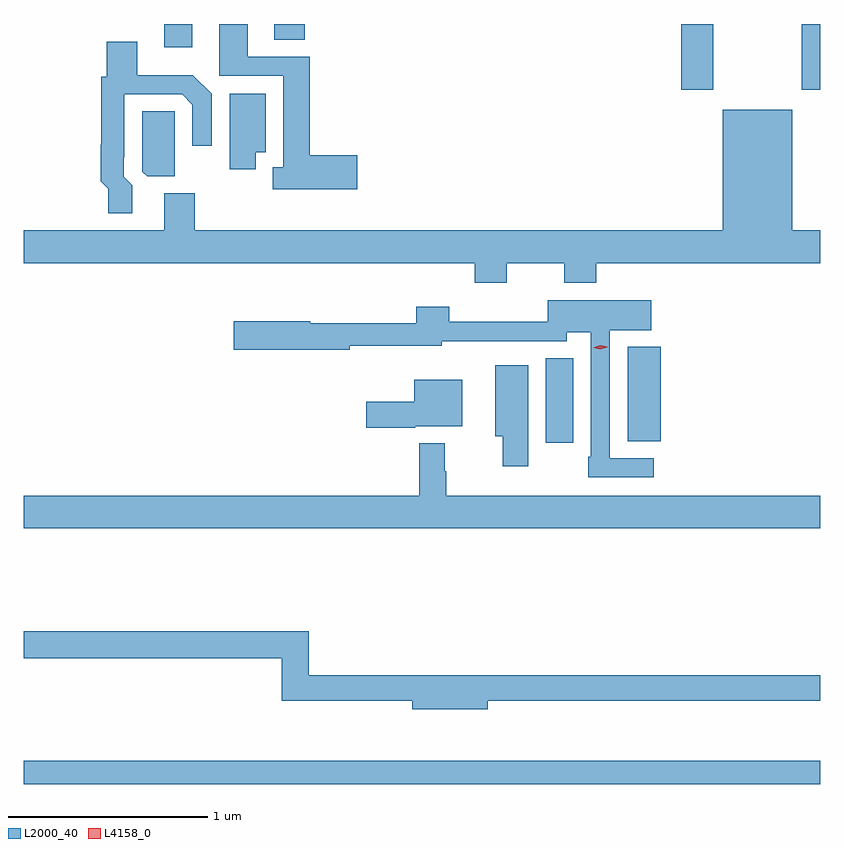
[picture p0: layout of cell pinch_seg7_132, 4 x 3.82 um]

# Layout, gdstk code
import gdstk
lib = gdstk.Library(unit=1e-6, precision=1e-09)
def R(c, l, rs):  # rectangles x0, y0, x1, y1
    for r in rs: c.add(gdstk.rectangle(r[:2], r[2:], *l))
def P(c, l, *ps):  # polygons
    for p in ps: c.add(gdstk.Polygon(p, *l))
L2000_40 = (2000, 40)
L4158_0 = (4158, 0)

pinch_seg7_132 = lib.new_cell('pinch_seg7_132')
R(pinch_seg7_132, L2000_40, [(908.648,998,912.648,998.116), (911.27,999.714,911.407,1000.139), (911.681,999.721,911.848,1000.195), (911.951,1001.487,912.111,1001.817), (912.556,1001.487,912.648,1001.817), (909.905,1001.737,910.058,1001.817)])
P(pinch_seg7_132, L2000_40, [(909.493,1001.817),(909.341,1001.817),(909.341,1001.815),(909.353,1001.815),(909.353,1001.7),(909.493,1001.7)],
  [(910.324,1001.159),(910.085,1001.159),(910.085,1001.652),(909.772,1001.652),(909.772,1001.817),(909.629,1001.817),(909.629,1001.556),(909.95,1001.556),(909.95,1001.098),(909.898,1001.098),(909.898,1000.988),(910.324,1000.988)],
  [(909.193,1001.006),(909.15,1001.049),(909.15,1001.149),(909.153,1001.149),(909.153,1001.463),(909.444,1001.463),(909.495,1001.412),(909.495,1001.205),(909.591,1001.205),(909.591,1001.466),(909.497,1001.56),(909.217,1001.56),(909.217,1001.728),(909.065,1001.728),(909.065,1001.553),(909.037,1001.553),(909.037,1001.21),(909.035,1001.21),(909.035,1001.028),(909.073,1000.989),(909.073,1000.866),(909.193,1000.866)],
  [(909.813,1001.174),(909.862,1001.174),(909.862,1001.467),(909.683,1001.467),(909.683,1001.087),(909.813,1001.087)],
  [(911.073,1000.616),(911.362,1000.616),(911.362,1000.517),(911.522,1000.517),(911.522,1000.616),(912.648,1000.616),(912.648,1000.78),(912.508,1000.78),(912.508,1001.386),(912.158,1001.386),(912.158,1000.78),(909.506,1000.78),(909.506,1000.968),(909.353,1000.968),(909.353,1000.78),(908.648,1000.78),(908.648,1000.616),(910.913,1000.616),(910.913,1000.517),(911.073,1000.517)],
  [(909.406,1001.267),(909.405,1001.267),(909.405,1001.378),(909.243,1001.378),(909.243,1001.076),(909.267,1001.053),(909.406,1001.053)],
  [(911.812,999.636),(911.592,999.636),(911.592,1000.28),(911.8,1000.28),(911.8,1000.429),(911.28,1000.429),(911.28,1000.322),(910.784,1000.322),(910.784,1000.396),(910.619,1000.396),(910.619,1000.315),(910.086,1000.315),(910.086,1000.323),(909.702,1000.323),(909.702,1000.181),(910.286,1000.181),(910.286,1000.201),(910.746,1000.201),(910.746,1000.223),(910.964,1000.223),(910.964,1000.224),(911.376,1000.224),(911.376,1000.268),(911.496,1000.268),(911.496,999.643),(911.484,999.643),(911.484,999.54),(911.812,999.54)],
  [(911.182,1000.102),(911.015,1000.102),(911.015,999.746),(911.053,999.746),(911.053,999.597),(911.182,999.597)],
  [(910.614,999.797),(910.849,999.797),(910.849,1000.03),(910.61,1000.03),(910.61,999.919),(910.368,999.919),(910.368,999.79),(910.614,999.79)],
  [(912.648,999.448),(910.769,999.448),(910.769,999.572),(910.762,999.572),(910.762,999.712),(910.634,999.712),(910.634,999.448),(908.648,999.448),(908.648,999.284),(912.648,999.284)],
  [(910.978,998.418),(912.648,998.418),(912.648,998.546),(910.079,998.546),(910.079,998.768),(908.648,998.768),(908.648,998.632),(909.943,998.632),(909.943,998.418),(910.598,998.418),(910.598,998.375),(910.978,998.375)])
P(pinch_seg7_132, L4158_0, [(911.543,1000.183),(911.508,1000.192),(911.508,1000.192),(911.508,1000.192),(911.543,1000.203),(911.578,1000.195),(911.578,1000.195),(911.578,1000.194)])

lib.write_gds('pinch_seg7_132.gds')
